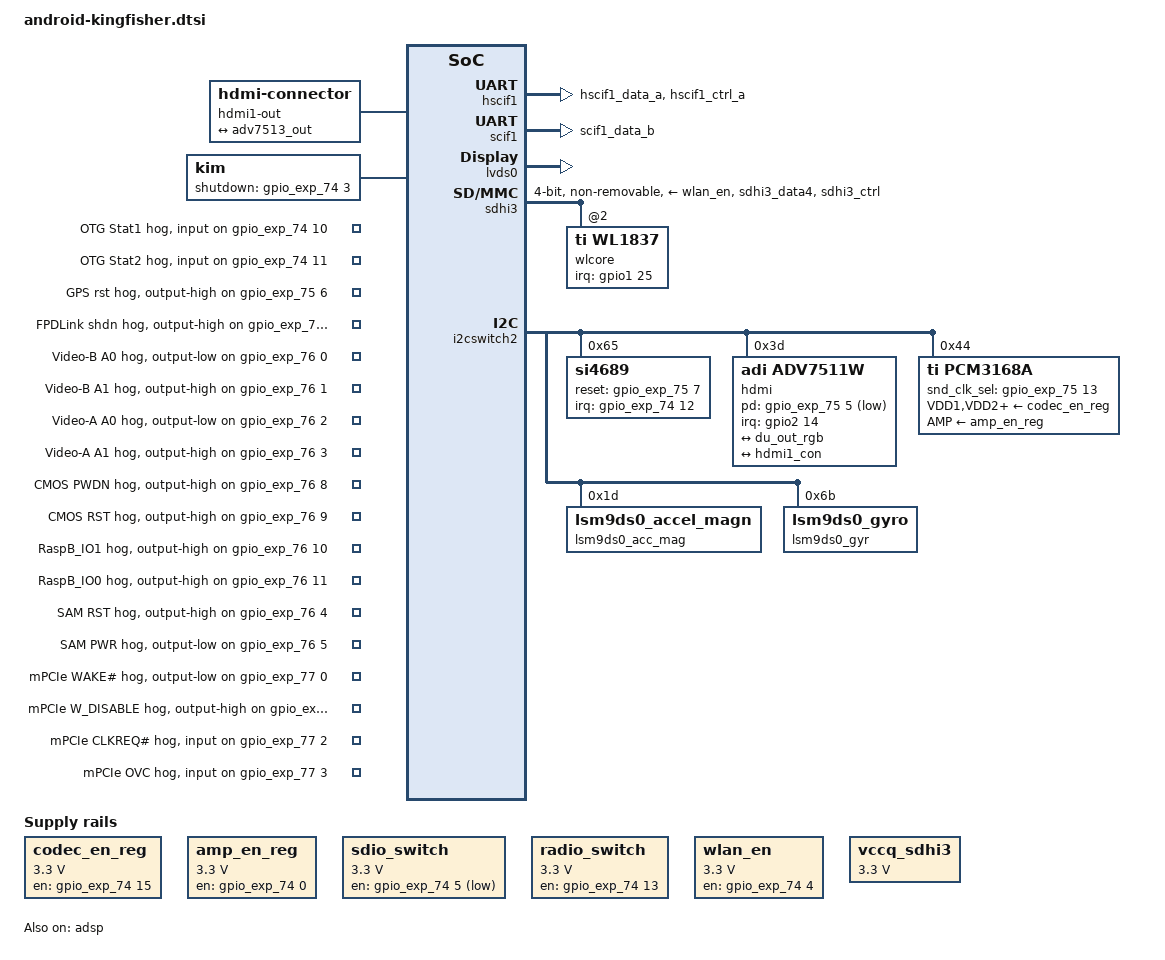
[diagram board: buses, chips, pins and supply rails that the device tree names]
/*
 * Device Tree Source for the Kingfisher board
 * Android specific extensions
 *
 * Copyright (C) 2018 GlobalLogic
 *
 * This file is licensed under the terms of the GNU General Public License
 * version 2.  This program is licensed "as is" without any warranty of any
 * kind, whether express or implied.
 */

/ {
	aliases {
		serial1 = &hscif0;
		serial2 = &hscif1;
		serial3 = &scif1;
		ethernet0 = &avb;
	};

	memory_ch1: memory@48000000 {
	};

	memory_ch2: memory@500000000 {
	};

	memory_ch3: memory@600000000 {
	};

	memory_ch4: memory@700000000 {
	};

	hdmi1-out {
		compatible = "hdmi-connector";
		type = "a";

		port {
			hdmi1_con: endpoint {
				remote-endpoint = <&adv7513_out>;
			};
		};
	};

	lvds: lvds {
		port {
			lvds_in: endpoint {
				remote-endpoint = <&lvds0_out>;
			};
		};
	};

	/delete-node/sound;

	sound_ext: sound@0 {
		compatible = "simple-audio-card";

		simple-audio-card,format = "left_j";
		simple-audio-card,name = "pcm3168a";

		simple-audio-card,dai-link@0 {
			format = "left_j";
			cpu@0 {
				sound-dai = <&rcar_sound 0>;
				dai-tdm-slot-num = <8>;
				dai-tdm-slot-width = <24>;
			};
			codec@0 {
				sound-dai = <&pcm3168a>;
				dai-tdm-slot-num = <8>;
				dai-tdm-slot-width = <24>;
				system-clock-frequency = <24576000>;
			};
		};
	};

	rsnd_ak4613: sound@1 {
		compatible = "simple-audio-card";

		simple-audio-card,format = "left_j";
		simple-audio-card,name = "ak4613";

		simple-audio-card,dai-link@0 {
			format = "left_j";
			cpu@1 {
				sound-dai = <&rcar_sound 1>;
			};
			codec@1 {
				sound-dai = <&ak4613>;
			};
		};
	};

	sound_radio: sound@2 {
		compatible = "simple-audio-card";

		simple-audio-card,format = "i2s";
		simple-audio-card,name = "radio";

		simple-audio-card,bitclock-master = <&sound_radio_master>;
		simple-audio-card,frame-master = <&sound_radio_master>;
		simple-audio-card,cpu@2 {
			sound-dai = <&rcar_sound 2>;
		};

		sound_radio_master: simple-audio-card,codec@2 {
			sound-dai = <&radio>;
			system-clock-frequency = <12288000>;
		};
	};

	sound_wl18xx: sound@3 {
		compatible = "simple-audio-card";

		simple-audio-card,format = "i2s";
		simple-audio-card,name = "wl18xx";

		simple-audio-card,bitclock-master = <&sound_wl18xx_master>;
		simple-audio-card,frame-master = <&sound_wl18xx_master>;
		sound_wl18xx_master: simple-audio-card,cpu@3 {
			sound-dai = <&rcar_sound 3>;
		};

		simple-audio-card,codec@3 {
			sound-dai = <&wl18xx_pcm>;
		};
	};

	radio: si468x@0 {
		compatible = "si,si468x-pcm";
		status = "okay";

		#sound-dai-cells = <0>;
	};

	wl18xx_pcm: wl18xx_pcm@0 {
		compatible = "ti,wl18xx-pcm";
		status = "okay";

		#sound-dai-cells = <0>;
	};

	codec_en_reg: regulator@6 {
		compatible = "regulator-fixed";
		regulator-name = "codec-en-regulator";
		regulator-min-microvolt = <3300000>;
		regulator-max-microvolt = <3300000>;

		gpio = <&gpio_exp_74 15 0>;

		/* delay - CHECK */
		startup-delay-us = <70000>;
		enable-active-high;
	};

	amp_en_reg: regulator@7 {
		compatible = "regulator-fixed";
		regulator-name = "amp-en-regulator";
		regulator-min-microvolt = <3300000>;
		regulator-max-microvolt = <3300000>;

		gpio = <&gpio_exp_74 0 0>;

		startup-delay-us = <0>;
		enable-active-high;
	};

	sdio_switch: regulator@9 {
		compatible = "regulator-fixed";
		regulator-name = "wifi_on";
		regulator-min-microvolt = <3300000>;
		regulator-max-microvolt = <3300000>;
		gpio = <&gpio_exp_74 5 0>;
		enable-active-low;
		regulator-always-on;
	};

	radio_switch: regulator@11 {
		compatible = "regulator-fixed";
		regulator-name = "radio_on";
		regulator-min-microvolt = <3300000>;
		regulator-max-microvolt = <3300000>;
		gpio = <&gpio_exp_74 13 GPIO_ACTIVE_HIGH>;
		enable-active-high;
		regulator-always-on;
	};

	wlan_en: regulator@4 {
		compatible = "regulator-fixed";
		regulator-name = "wlan-en-regulator";

		regulator-min-microvolt = <3300000>;
		regulator-max-microvolt = <3300000>;

		gpio = <&gpio_exp_74 4 GPIO_ACTIVE_HIGH>;
		enable-active-high;
	};

	vccq_sdhi3: regulator@5 {
		compatible = "regulator-fixed";

		regulator-name = "SDHI3 VccQ";
		regulator-min-microvolt = <3300000>;
		regulator-max-microvolt = <3300000>;
	};

	snd_clk: snd_clk {
		compatible = "fixed-clock";
		#clock-cells = <0>;
		clock-frequency = <24576000>;
		clock-output-names = "scki";
	};

	kim {
		compatible = "kim";
		shutdown-gpios = <&gpio_exp_74 3 GPIO_ACTIVE_HIGH>; /* (U11) P03 */
		/* serial1 */
		dev_name = "/dev/ttySC1";
		flow_cntrl = <1>;
		/* int div 8 hscif@26.6666656MHz */
		baud_rate = <3333332>;
	};

	btwilink {
		compatible = "btwilink";
	};
};

&hscif1 {
	pinctrl-0 = <&hscif1_pins>;
	pinctrl-names = "default";
	status = "okay";
};

&scif1 {
	pinctrl-0 = <&scif1_pins>;
	pinctrl-names = "default";
	/delete-property/uart-has-rtscts;
	status = "okay";
};

&pfc {
	canfd0_pins: canfd0 {
		groups = "canfd0_data_a";
		function = "canfd0";
	};

	canfd1_pins: canfd1 {
		groups = "canfd1_data";
		function = "canfd1";
	};

	hscif1_pins: hscif1 {
		groups = "hscif1_data_a", "hscif1_ctrl_a";
		function = "hscif1";
	};

	scif1_pins: scif1 {
		groups = "scif1_data_b";
		function = "scif1";
	};

	du_pins: du {
		groups = "du_rgb888", "du_sync", "du_clk_out_0", "du_disp";
		function = "du";
	};

	sdhi3_pins_3v3: sd3_3v3 {
		groups = "sdhi3_data4", "sdhi3_ctrl";
		function = "sdhi3";
		power-source = <3300>;
	};

	sdhi3_pins_1v8: sd3_1v8 {
		groups = "sdhi3_data4", "sdhi3_ctrl";
		function = "sdhi3";
		power-source = <1800>;
	};

	/delete-node/sound;

	sound_pins: sound {
		groups = "ssi01239_ctrl", "ssi349_ctrl", "ssi6_ctrl", "ssi78_ctrl",
				 "ssi0_data", "ssi1_data_a", "ssi3_data", "ssi4_data",
				 "ssi6_data", "ssi7_data", "ssi8_data";
		function = "ssi";
	};
};

&ssi4 {
	shared-pin;
};

&ssi8 {
	shared-pin;
};

&lvds0 {
	status = "okay";
};

&du {
	pinctrl-0 = <&du_pins>;
	pinctrl-names = "default";

	ports {
		port@0 {
			endpoint {
				remote-endpoint = <&adv7513_in>;
			};
		};
	};
};

&sdhi3 {
	pinctrl-0 = <&sdhi3_pins_3v3>;
	pinctrl-1 = <&sdhi3_pins_1v8>;
	pinctrl-names = "default", "state_uhs";

	vmmc-supply = <&wlan_en>;
	vqmmc-supply = <&vccq_sdhi3>;
	keep-power-in-suspend;
	enable-sdio-wakeup;
	bus-width = <4>;
	no-1-8-v;
	non-removable;
	cap-power-off-card;
	max-frequency = <26000000>;
	status = "okay";

	#address-cells = <1>;
	#size-cells = <0>;
	wlcore: wlcore@2 {
		compatible = "ti,wl1837";
		reg = <2>;
		interrupt-parent = <&gpio1>;
		interrupts = <25 IRQ_TYPE_EDGE_FALLING>;
	};
};

&can0 {
	renesas,can-clock-select = <0x0>;
};

&can1 {
	renesas,can-clock-select = <0x0>;
};

&canfd {
	pinctrl-0 = <&canfd0_pins &canfd1_pins>;
	pinctrl-names = "default";
	status = "disabled";

	renesas,can-clock-select = <0x0>;

	channel0 {
		status = "okay";
	};

	channel1 {
		status = "okay";
	};
};

&rcar_sound {
	/delete-property/#sound-dai-cells;

	/* Multiple DAI */
	#sound-dai-cells = <1>;

	clkout-lr-synchronous;

	rcar_sound,dai {
		/delete-node/dai0;

		dai0 {
			playback = <&ssi3>;
			capture  = <&ssi4>;
		};

		dai1 {
			playback = <&ssi0>;
			capture  = <&ssi1>;
		};

		dai2 {
			capture = <&ssi6 &src0 &dvc0>;
		};

		dai3 {
			playback = <&ssi7>;
			capture  = <&ssi8>;
		};
	};
};

&sdhi3 {
	pinctrl-0 = <&sdhi3_pins_3v3>;
	pinctrl-1 = <&sdhi3_pins_1v8>;
	pinctrl-names = "default", "state_uhs";

	vmmc-supply = <&wlan_en>;
	vqmmc-supply = <&vccq_sdhi3>;
	keep-power-in-suspend;
	enable-sdio-wakeup;
	bus-width = <4>;
	no-1-8-v;
	non-removable;
	cap-power-off-card;
	max-frequency = <26000000>;
	status = "okay";

	#address-cells = <1>;
	#size-cells = <0>;
	wlcore: wlcore@2 {
		compatible = "ti,wl1837";
		reg = <2>;
		interrupt-parent = <&gpio1>;
		interrupts = <25 IRQ_TYPE_EDGE_FALLING>;
	};
};

&gpio_exp_74 {
	#interrupt-cells = <2>;

	otg_stat1 {
		gpio-hog;
		gpios = <10 GPIO_ACTIVE_HIGH>;
		input;
		line-name = "OTG Stat1";
	};

	otg_stat2 {
		gpio-hog;
		gpios = <11 GPIO_ACTIVE_HIGH>;
		input;
		line-name = "OTG Stat2";
	};
};

&gpio_exp_75 {
	#interrupt-cells = <2>;

	gps_rst {
		gpio-hog;
		gpios = <6 GPIO_ACTIVE_HIGH>;
		output-high;
		line-name = "GPS rst";
	};

	fpdl_shdn {
		gpio-hog;
		gpios = <9 GPIO_ACTIVE_HIGH>;
		output-high;
		line-name = "FPDLink shdn";
	};

};

&gpio_exp_76 {
	#interrupt-cells = <2>;

	port_b_a0 {
		gpio-hog;
		gpios = <0 GPIO_ACTIVE_HIGH>;
		output-low;
		line-name = "Video-B A0";
	};
	port_b_a1 {
		gpio-hog;
		gpios = <1 GPIO_ACTIVE_HIGH>;
		output-high;
		line-name = "Video-B A1";
	};
	port_a_a0 {
		gpio-hog;
		gpios = <2 GPIO_ACTIVE_HIGH>;
		output-low;
		line-name = "Video-A A0";
	};
	port_a_a1 {
		gpio-hog;
		gpios = <3 GPIO_ACTIVE_HIGH>;
		output-high;
		line-name = "Video-A A1";
	};
	cmos_pwdn {
		gpio-hog;
		gpios = <8 GPIO_ACTIVE_HIGH>;
		output-high;
		line-name = "CMOS PWDN";
	};
	cmos_rst {
		gpio-hog;
		gpios = <9 GPIO_ACTIVE_HIGH>;
		output-high;
		line-name = "CMOS RST";
	};
	/* pin 12 - CAM_CLK */
	rpi_cam_io_1 {
		gpio-hog;
		gpios = <10 GPIO_ACTIVE_HIGH>;
		output-high;
		line-name = "RaspB_IO1";
	};
	/* pin 11 - CAM_GPIO - assume pwdn */
	rpi_cam_io_0 {
		gpio-hog;
		gpios = <11 GPIO_ACTIVE_HIGH>;
		output-high;
		line-name = "RaspB_IO0";
	};
	sam_rst {
		gpio-hog;
		gpios = <4 GPIO_ACTIVE_HIGH>;
		output-high;
		line-name = "SAM RST";
	};
	sam_pwr {
		gpio-hog;
		gpios = <5 GPIO_ACTIVE_HIGH>;
		output-low;
		line-name = "SAM PWR";
	};
};

&gpio_exp_77 {
	#interrupt-cells = <2>;

	mpcie_wake {
		gpio-hog;
		gpios = <0 GPIO_ACTIVE_HIGH>;
		output-low;
		line-name = "mPCIe WAKE#";
	};
	mpcie_wdisable {
		gpio-hog;
		gpios = <1 GPIO_ACTIVE_HIGH>;
		output-high;
		line-name = "mPCIe W_DISABLE";
	};
	mpcie_clreq {
		gpio-hog;
		gpios = <2 GPIO_ACTIVE_HIGH>;
		input;
		line-name = "mPCIe CLKREQ#";
	};
	mpcie_ovc {
		gpio-hog;
		gpios = <3 GPIO_ACTIVE_HIGH>;
		input;
		line-name = "mPCIe OVC";
	};
};

&i2cswitch2 {
	i2c@0 {
		#address-cells = <1>;
		#size-cells = <0>;
		reg = <0>;
		/* BCM node(s) */
	};

	i2c@1 {
		#address-cells = <1>;
		#size-cells = <0>;
		reg = <1>;
		/* USB3.0 HUB node(s) */
	};

	i2c@2 {
		#address-cells = <1>;
		#size-cells = <0>;
		reg = <2>;
		/* Power amp node(s) */
	};

	i2c@3 {
		#address-cells = <1>;
		#size-cells = <0>;
		reg = <3>;

		/* Radio node(s) */
		si4689: radio-si4689@65 {
			compatible = "si4689";
			reg = <0x65>;
			reset_gpio = <&gpio_exp_75 7 GPIO_ACTIVE_HIGH>; /* (U5) P07 */
			interrupt-parent = <&gpio_exp_74>;
			interrupts = <12 IRQ_TYPE_EDGE_FALLING>;
		};
	};

	i2c@4 {
		#address-cells = <1>;
		#size-cells = <0>;
		reg = <4>;

		hdmi@3d {
			compatible = "adi,adv7511w";
			reg = <0x3d>;
			interrupt-parent = <&gpio2>;
			interrupts = <14 IRQ_TYPE_EDGE_BOTH>;
			pd-gpios = <&gpio_exp_75 5 GPIO_ACTIVE_LOW>;

			interlace-allowed;
			adi,input-depth = <8>;
			adi,input-colorspace = "rgb";
			adi,input-clock = "1x";
			adi,input-style = <1>;
			adi,input-justification = "evenly";
			adi,clock-delay = <1200>;
			adi,clock-max-rate = <100000>;

			ports {
				#address-cells = <1>;
				#size-cells = <0>;

				port@0 {
					reg = <0>;
					adv7513_in: endpoint {
						remote-endpoint = <&du_out_rgb>;
					};
				};

				port@1 {
					reg = <1>;
					adv7513_out: endpoint {
						remote-endpoint = <&hdmi1_con>;
					};
				};
			};
		};
	};

	i2c@5 {
		#address-cells = <1>;
		#size-cells = <0>;
		reg = <5>;
		/* PCIe node(s) */
	};

	i2c@6 {
		#address-cells = <1>;
		#size-cells = <0>;
		reg = <6>;
		/* LVDS display node(s) */
	};

	i2c@7 {
		#address-cells = <1>;
		#size-cells = <0>;
		reg = <7>;
		/* Audio, GPS and Gyro node(s) */

		pcm3168a: audio-codec@44 {
			#sound-dai-cells = <0>;
			compatible = "ti,pcm3168a";
			reg = <0x44>;
			clocks = <&snd_clk>;
			clock-names = "scki";
			tdm;
			snd_clk_sel_gpio = <&gpio_exp_75 13 GPIO_ACTIVE_HIGH>; /* (U5) P15 */
			VDD1-supply = <&codec_en_reg>;
			VDD2-supply = <&codec_en_reg>;
			VCCAD1-supply = <&codec_en_reg>;
			VCCAD2-supply = <&codec_en_reg>;
			AMP-supply = <&amp_en_reg>;
		};

		lsm9ds0_acc_mag@1d {
			compatible = "lsm9ds0_accel_magn";
			reg = <0x1d>;
		};

		lsm9ds0_gyr@6b {
			compatible = "lsm9ds0_gyro";
			reg = <0x6b>;
		};
	};
};

&i2cswitch4 {
	i2c@0 {
		#address-cells = <1>;
		#size-cells = <0>;
		reg = <0>;
		/* SAM node(s) */
	};

	i2c@1 {
		#address-cells = <1>;
		#size-cells = <0>;
		reg = <1>;
		/* Slot A (CN10) */
	};

	i2c@2 {
		#address-cells = <1>;
		#size-cells = <0>;
		reg = <2>;
		/* Slot B (CN11) */
	};

	i2c@3 {
		#address-cells = <1>;
		#size-cells = <0>;
		reg = <3>;
		/* MOST node(s) */
	};

	i2c@4 {
		#address-cells = <1>;
		#size-cells = <0>;
		reg = <4>;
	};

	i2c@5 {
		#address-cells = <1>;
		#size-cells = <0>;
		reg = <5>;
	};

	i2c@6 {
		#address-cells = <1>;
		#size-cells = <0>;
		reg = <6>;
		/* Slot B (CN11) */
	};

	i2c@7 {
		#address-cells = <1>;
		#size-cells = <0>;
		reg = <7>;
		/* Slot A (CN10) */
	};
};

&adsp {
	status = "okay";
	memory-region = <&adsp_reserved>;
};
